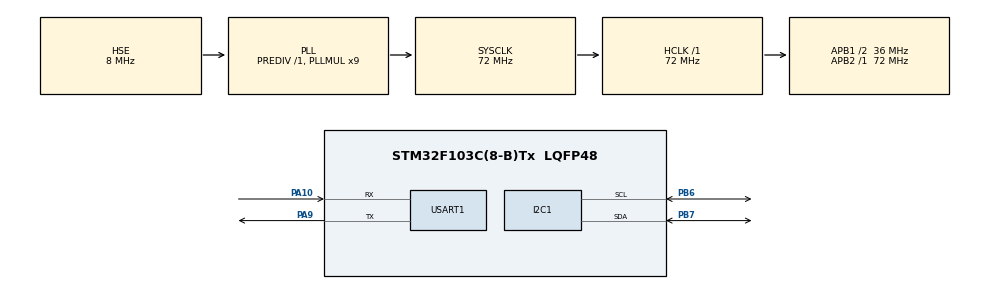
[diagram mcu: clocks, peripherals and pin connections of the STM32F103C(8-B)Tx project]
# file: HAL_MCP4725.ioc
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I2C1.I2C_Mode=I2C_Fast
Mcu.Family=STM32F1
Mcu.Name=STM32F103C(8-B)Tx
Mcu.Package=LQFP48
NVIC.I2C1_EV_IRQn=true\:0\:0\:false\:false\:true\:true\:true\:true
NVIC.PriorityGroup=NVIC_PRIORITYGROUP_4
NVIC.USART1_IRQn=true\:0\:0\:false\:false\:true\:true\:true\:true
PA10.Mode=Asynchronous
PA10.Signal=USART1_RX
PA9.Mode=Asynchronous
PA9.Signal=USART1_TX
PB6.Mode=I2C
PB6.Signal=I2C1_SCL
PB7.Mode=I2C
PB7.Signal=I2C1_SDA
PD0-OSC_IN.Mode=HSE-External-Oscillator
PD0-OSC_IN.Signal=RCC_OSC_IN
PD1-OSC_OUT.Mode=HSE-External-Oscillator
PD1-OSC_OUT.Signal=RCC_OSC_OUT
ProjectManager.HeapSize=0x200
ProjectManager.StackSize=0x400
ProjectManager.TargetToolchain=STM32CubeIDE
RCC.AHBFreq_Value=72000000
RCC.APB1CLKDivider=RCC_HCLK_DIV2
RCC.APB1Freq_Value=36000000
RCC.APB1TimFreq_Value=72000000
RCC.APB2Freq_Value=72000000
RCC.APB2TimFreq_Value=72000000
RCC.HCLKFreq_Value=72000000
RCC.PLLMUL=RCC_PLL_MUL9
RCC.PLLSourceVirtual=RCC_PLLSOURCE_HSE
RCC.SYSCLKFreq_VALUE=72000000
RCC.SYSCLKSource=RCC_SYSCLKSOURCE_PLLCLK
RCC.USBFreq_Value=72000000
USART1.VirtualMode=VM_ASYNC
board=custom

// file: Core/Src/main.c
/* USER CODE BEGIN Header */
/**
 ******************************************************************************
 * @file           : main.c
 * @brief          : Main program body
 ******************************************************************************
 * @attention
 *
 * Copyright (c) 2023 STMicroelectronics.
 * All rights reserved.
 *
 * This software is licensed under terms that can be found in the LICENSE file
 * in the root directory of this software component.
 * If no LICENSE file comes with this software, it is provided AS-IS.
 *
 ******************************************************************************
 */
/* USER CODE END Header */
#include "main.h"

/* USER CODE BEGIN Includes */
#include "string.h"
#include "stdbool.h"
#include "mcp4725.h"
#include "sinetable.h"
/* USER CODE END Includes */

I2C_HandleTypeDef hi2c1;

UART_HandleTypeDef huart1;

/* USER CODE BEGIN PV */
Mcp4725_HandleTypeDef hmcp1;
/* USER CODE END PV */

void SystemClock_Config(void);
static void MX_GPIO_Init(void);
static void MX_I2C1_Init(void);
static void MX_USART1_UART_Init(void);
/* USER CODE BEGIN PFP */
void USER_MCP4725_Init(void);
/* USER CODE END PFP */

/* USER CODE BEGIN 0 */
uint8_t Buffer[25] = { 0 };
uint8_t recvd_data;
uint8_t data_buffer[100];
uint32_t count = 0;

/* USER CODE END 0 */

int main(void)
{

  /* MCU Configuration--------------------------------------------------------*/

  /* Reset of all peripherals, Initializes the Flash interface and the Systick. */
  HAL_Init();

  /* Configure the system clock */
  SystemClock_Config();

  /* Initialize all configured peripherals */
  MX_GPIO_Init();
  MX_I2C1_Init();
  MX_USART1_UART_Init();
  /* USER CODE BEGIN 2 */
  USER_MCP4725_Init();
  HAL_UART_Receive_IT(&huart1, &recvd_data, 1);
  /* USER CODE END 2 */

  /* Infinite loop */
	while (1) {

    /* USER CODE BEGIN 3 */
		for (int i=0; i<128;i++)
		{
			// 50Hz combination
			Mcp4725_Set_Value(&hmcp1, DACLookup_FullSine_128[i]);
			for (int j=0; j<316;j++) {}
		}
	}
  /* USER CODE END 3 */
}

void SystemClock_Config(void)
{
  RCC_OscInitTypeDef RCC_OscInitStruct = {0};
  RCC_ClkInitTypeDef RCC_ClkInitStruct = {0};

  /** Initializes the RCC Oscillators according to the specified parameters
  * in the RCC_OscInitTypeDef structure.
  */
  RCC_OscInitStruct.OscillatorType = RCC_OSCILLATORTYPE_HSE;
  RCC_OscInitStruct.HSEState = RCC_HSE_ON;
  RCC_OscInitStruct.HSEPredivValue = RCC_HSE_PREDIV_DIV1;
  RCC_OscInitStruct.HSIState = RCC_HSI_ON;
  RCC_OscInitStruct.PLL.PLLState = RCC_PLL_ON;
  RCC_OscInitStruct.PLL.PLLSource = RCC_PLLSOURCE_HSE;
  RCC_OscInitStruct.PLL.PLLMUL = RCC_PLL_MUL9;
  if (HAL_RCC_OscConfig(&RCC_OscInitStruct) != HAL_OK)
  {
    Error_Handler();
  }

  /** Initializes the CPU, AHB and APB buses clocks
  */
  RCC_ClkInitStruct.ClockType = RCC_CLOCKTYPE_HCLK|RCC_CLOCKTYPE_SYSCLK
                              |RCC_CLOCKTYPE_PCLK1|RCC_CLOCKTYPE_PCLK2;
  RCC_ClkInitStruct.SYSCLKSource = RCC_SYSCLKSOURCE_PLLCLK;
  RCC_ClkInitStruct.AHBCLKDivider = RCC_SYSCLK_DIV1;
  RCC_ClkInitStruct.APB1CLKDivider = RCC_HCLK_DIV2;
  RCC_ClkInitStruct.APB2CLKDivider = RCC_HCLK_DIV1;

  if (HAL_RCC_ClockConfig(&RCC_ClkInitStruct, FLASH_LATENCY_2) != HAL_OK)
  {
    Error_Handler();
  }
}

static void MX_I2C1_Init(void)
{

  hi2c1.Instance = I2C1;
  hi2c1.Init.ClockSpeed = 400000;
  hi2c1.Init.DutyCycle = I2C_DUTYCYCLE_2;
  hi2c1.Init.OwnAddress1 = 0;
  hi2c1.Init.AddressingMode = I2C_ADDRESSINGMODE_7BIT;
  hi2c1.Init.DualAddressMode = I2C_DUALADDRESS_DISABLE;
  hi2c1.Init.OwnAddress2 = 0;
  hi2c1.Init.GeneralCallMode = I2C_GENERALCALL_DISABLE;
  hi2c1.Init.NoStretchMode = I2C_NOSTRETCH_DISABLE;
  if (HAL_I2C_Init(&hi2c1) != HAL_OK)
  {
    Error_Handler();
  }

}

static void MX_USART1_UART_Init(void)
{

  huart1.Instance = USART1;
  huart1.Init.BaudRate = 115200;
  huart1.Init.WordLength = UART_WORDLENGTH_8B;
  huart1.Init.StopBits = UART_STOPBITS_1;
  huart1.Init.Parity = UART_PARITY_NONE;
  huart1.Init.Mode = UART_MODE_TX_RX;
  huart1.Init.HwFlowCtl = UART_HWCONTROL_NONE;
  huart1.Init.OverSampling = UART_OVERSAMPLING_16;
  if (HAL_UART_Init(&huart1) != HAL_OK)
  {
    Error_Handler();
  }

}

static void MX_GPIO_Init(void)
{

  /* GPIO Ports Clock Enable */
  __HAL_RCC_GPIOD_CLK_ENABLE();
  __HAL_RCC_GPIOA_CLK_ENABLE();
  __HAL_RCC_GPIOB_CLK_ENABLE();

}

/* USER CODE BEGIN 4 */

void USER_MCP4725_Init(void) {
	hmcp1.SlaveAddress = 0x60;
	hmcp1.hi2c = &hi2c1;
	hmcp1.CommType = MCP4725_NORMAL;
	Mcp4725_Init(&hmcp1);
}

void HAL_UART_RxCpltCallback(UART_HandleTypeDef *huart) {

	if (recvd_data == '\r') //when enter is pressed go to this condition
			{
		char *end;
		uint16_t dacValue = strtoul(data_buffer, &end, 10);

		data_buffer[count++] = '\r';
		data_buffer[count++] = '\n';
		HAL_UART_Transmit(huart, data_buffer, count, HAL_MAX_DELAY); //transmit the full sentence again
		memset(data_buffer, 0, count); // enpty the data buffer
		count = 0;

		uint8_t packet[3];
		packet[0] = MCP4725_CMD_WRITEDAC;

		packet[1] = dacValue / 16; // Upper data bits (D11.D10.D9.D8.D7.D6.D5.D4)
		packet[2] = (dacValue % 16) << 4; // Lower data bits (D3.D2.D1.D0.x.x.x.x)

		//Mcp4725_Set_Value(&hmcp1, dacValue);
		//HAL_I2C_Master_Transmit_DMA(&hi2c1, (uint16_t) (hmcp1.SlaveAddress << 1),  packet, 3);
	} else {
		data_buffer[count++] = recvd_data; // every time when interrput is happen, received 1 byte of data
	}
	HAL_UART_Receive_IT(&huart1, &recvd_data, 1); //start next data receive interrupt

}

/* USER CODE END 4 */

void Error_Handler(void)
{
	__disable_irq();
	while (1) {
	}
}
